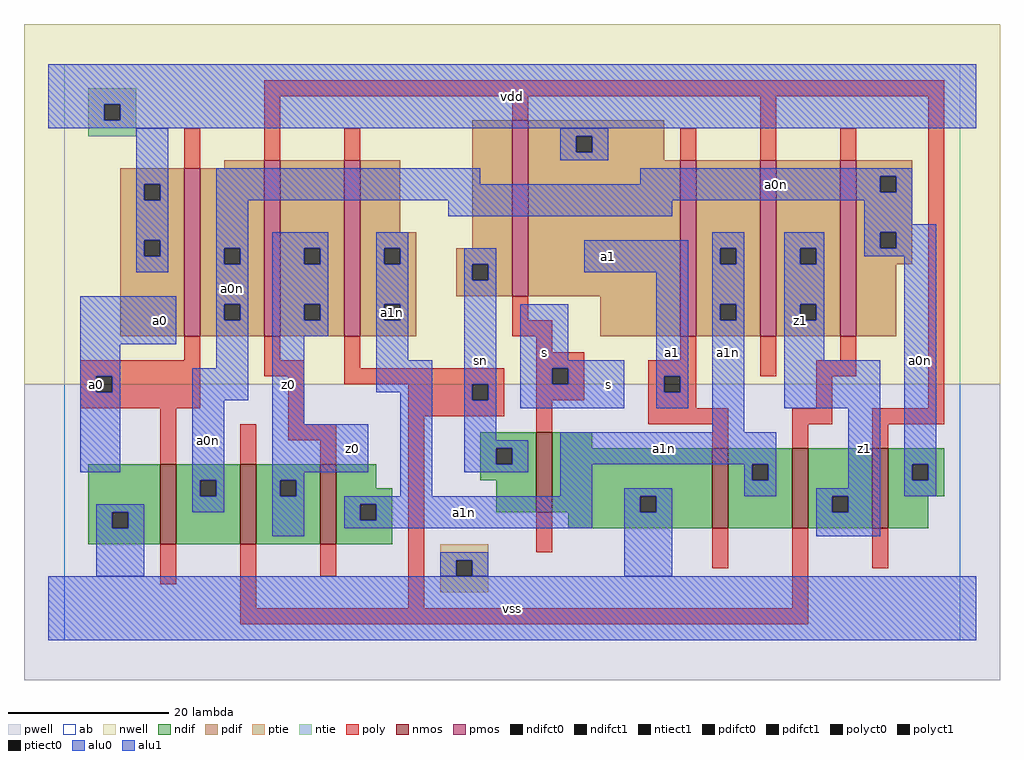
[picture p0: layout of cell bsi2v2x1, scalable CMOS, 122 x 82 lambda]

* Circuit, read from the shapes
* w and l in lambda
.subckt bsi2v2x1 a0 a0n a1 a1n s sn vdd vss z0 z1
M1 a0n a0 vss vss nfet w=10 l=2
M2 z0 sn a0n vss nfet w=10 l=2
M3 a1n s z0 vss nfet w=10 l=2
M4 vss s sn vss nfet w=10 l=2
M5 a1n a1 vss vss nfet w=10 l=2
M6 z1 sn a1n vss nfet w=10 l=2
M7 a0n s z1 vss nfet w=10 l=2
M8 a0n a0 vdd vdd pfet w=21 l=2
M9 z0 s a0n vdd pfet w=22 l=2
M10 a1n sn z0 vdd pfet w=22 l=2
M11 vdd s sn vdd pfet w=22 l=2
M12 a1n a1 vdd vdd pfet w=22 l=2
M13 z1 s a1n vdd pfet w=22 l=2
M14 a0n sn z1 vdd pfet w=22 l=2
.ends

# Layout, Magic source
magic
tech scmos
<< ab >>
rect 0 0 112 72
<< nwell >>
rect -5 32 117 77
<< pwell >>
rect -5 -5 117 32
<< poly >>
rect 25 68 110 70
rect 15 59 17 64
rect 25 60 27 68
rect 56 65 58 68
rect 35 60 37 64
rect 77 60 79 64
rect 87 60 89 68
rect 97 60 99 64
rect 56 40 58 43
rect 56 38 61 40
rect 15 35 17 38
rect 2 33 17 35
rect 25 35 27 38
rect 25 33 30 35
rect 2 31 4 33
rect 6 31 17 33
rect 2 29 17 31
rect 12 22 14 29
rect 28 27 30 33
rect 35 34 37 38
rect 59 36 61 38
rect 59 34 65 36
rect 77 35 79 38
rect 35 32 55 34
rect 43 30 51 32
rect 53 30 55 32
rect 43 28 55 30
rect 59 32 61 34
rect 63 32 65 34
rect 59 30 65 32
rect 73 33 79 35
rect 87 33 89 38
rect 97 35 99 38
rect 94 33 99 35
rect 73 31 75 33
rect 77 31 79 33
rect 22 22 24 27
rect 28 25 34 27
rect 32 22 34 25
rect 12 7 14 12
rect 22 4 24 12
rect 32 8 34 12
rect 43 4 45 28
rect 59 26 61 30
rect 73 29 79 31
rect 94 29 96 33
rect 108 29 110 68
rect 73 27 83 29
rect 81 24 83 27
rect 91 27 96 29
rect 101 27 110 29
rect 91 24 93 27
rect 101 24 103 27
rect 59 11 61 16
rect 81 9 83 14
rect 91 4 93 14
rect 101 9 103 14
rect 22 2 93 4
<< ndif >>
rect 3 16 12 22
rect 3 14 6 16
rect 8 14 12 16
rect 3 12 12 14
rect 14 20 22 22
rect 14 18 17 20
rect 19 18 22 20
rect 14 12 22 18
rect 24 20 32 22
rect 24 18 27 20
rect 29 18 32 20
rect 24 12 32 18
rect 34 19 39 22
rect 34 17 41 19
rect 34 15 37 17
rect 39 15 41 17
rect 34 12 41 15
rect 52 24 59 26
rect 52 22 54 24
rect 56 22 59 24
rect 52 20 59 22
rect 54 16 59 20
rect 61 24 66 26
rect 61 18 81 24
rect 61 16 72 18
rect 74 16 81 18
rect 63 14 81 16
rect 83 22 91 24
rect 83 20 86 22
rect 88 20 91 22
rect 83 14 91 20
rect 93 18 101 24
rect 93 16 96 18
rect 98 16 101 18
rect 93 14 101 16
rect 103 22 110 24
rect 103 20 106 22
rect 108 20 110 22
rect 103 18 110 20
rect 103 14 108 18
<< pdif >>
rect 20 59 25 60
rect 7 57 15 59
rect 7 55 10 57
rect 12 55 15 57
rect 7 50 15 55
rect 7 48 10 50
rect 12 48 15 50
rect 7 38 15 48
rect 17 49 25 59
rect 17 47 20 49
rect 22 47 25 49
rect 17 42 25 47
rect 17 40 20 42
rect 22 40 25 42
rect 17 38 25 40
rect 27 49 35 60
rect 27 47 30 49
rect 32 47 35 49
rect 27 42 35 47
rect 27 40 30 42
rect 32 40 35 42
rect 27 38 35 40
rect 37 51 42 60
rect 37 49 44 51
rect 51 49 56 65
rect 37 47 40 49
rect 42 47 44 49
rect 37 42 44 47
rect 49 47 56 49
rect 49 45 51 47
rect 53 45 56 47
rect 49 43 56 45
rect 58 63 75 65
rect 58 61 64 63
rect 66 61 75 63
rect 58 60 75 61
rect 58 43 77 60
rect 37 40 40 42
rect 42 40 44 42
rect 37 38 44 40
rect 67 38 77 43
rect 79 49 87 60
rect 79 47 82 49
rect 84 47 87 49
rect 79 42 87 47
rect 79 40 82 42
rect 84 40 87 42
rect 79 38 87 40
rect 89 49 97 60
rect 89 47 92 49
rect 94 47 97 49
rect 89 42 97 47
rect 89 40 92 42
rect 94 40 97 42
rect 89 38 97 40
rect 99 58 106 60
rect 99 56 102 58
rect 104 56 106 58
rect 99 51 106 56
rect 99 49 102 51
rect 104 49 106 51
rect 99 47 106 49
rect 99 38 104 47
<< alu1 >>
rect -2 67 114 72
rect -2 65 5 67
rect 7 65 114 67
rect -2 64 114 65
rect 2 37 14 43
rect 2 33 7 37
rect 2 31 4 33
rect 6 31 7 33
rect 2 21 7 31
rect 26 49 33 51
rect 26 47 30 49
rect 32 47 33 49
rect 26 42 33 47
rect 26 40 30 42
rect 32 40 33 42
rect 26 38 33 40
rect 26 27 30 38
rect 65 46 78 50
rect 26 21 38 27
rect 26 20 30 21
rect 26 18 27 20
rect 29 18 30 20
rect 57 35 63 42
rect 57 34 70 35
rect 57 32 61 34
rect 63 32 70 34
rect 57 29 70 32
rect 74 33 78 46
rect 74 31 75 33
rect 77 31 78 33
rect 74 29 78 31
rect 90 49 95 51
rect 90 47 92 49
rect 94 47 95 49
rect 90 42 95 47
rect 90 40 92 42
rect 94 40 95 42
rect 90 35 95 40
rect 90 29 102 35
rect 26 13 30 18
rect 98 19 102 29
rect 94 18 102 19
rect 94 16 96 18
rect 98 16 102 18
rect 94 13 102 16
rect -2 0 114 8
<< ptie >>
rect 47 10 53 12
rect 47 8 49 10
rect 51 8 53 10
rect 47 6 53 8
<< ntie >>
rect 3 67 9 69
rect 3 65 5 67
rect 7 65 9 67
rect 3 63 9 65
<< nmos >>
rect 12 12 14 22
rect 22 12 24 22
rect 32 12 34 22
rect 59 16 61 26
rect 81 14 83 24
rect 91 14 93 24
rect 101 14 103 24
<< pmos >>
rect 15 38 17 59
rect 25 38 27 60
rect 35 38 37 60
rect 56 43 58 65
rect 77 38 79 60
rect 87 38 89 60
rect 97 38 99 60
<< polyct0 >>
rect 51 30 53 32
<< polyct1 >>
rect 4 31 6 33
rect 61 32 63 34
rect 75 31 77 33
<< ndifct0 >>
rect 6 14 8 16
rect 17 18 19 20
rect 37 15 39 17
rect 54 22 56 24
rect 72 16 74 18
rect 86 20 88 22
rect 106 20 108 22
<< ndifct1 >>
rect 27 18 29 20
rect 96 16 98 18
<< ntiect1 >>
rect 5 65 7 67
<< ptiect0 >>
rect 49 8 51 10
<< pdifct0 >>
rect 10 55 12 57
rect 10 48 12 50
rect 20 47 22 49
rect 20 40 22 42
rect 40 47 42 49
rect 51 45 53 47
rect 64 61 66 63
rect 40 40 42 42
rect 82 47 84 49
rect 82 40 84 42
rect 102 56 104 58
rect 102 49 104 51
<< pdifct1 >>
rect 30 47 32 49
rect 30 40 32 42
rect 92 47 94 49
rect 92 40 94 42
<< alu0 >>
rect 9 57 13 64
rect 62 63 68 64
rect 62 61 64 63
rect 66 61 68 63
rect 62 60 68 61
rect 9 55 10 57
rect 12 55 13 57
rect 9 50 13 55
rect 9 48 10 50
rect 12 48 13 50
rect 9 46 13 48
rect 19 57 52 59
rect 72 58 106 59
rect 72 57 102 58
rect 19 56 102 57
rect 104 56 106 58
rect 19 55 106 56
rect 19 49 23 55
rect 48 53 76 55
rect 100 52 106 55
rect 100 51 109 52
rect 19 47 20 49
rect 22 47 23 49
rect 19 42 23 47
rect 19 40 20 42
rect 22 40 23 42
rect 19 34 23 40
rect 16 30 23 34
rect 39 49 43 51
rect 39 47 40 49
rect 42 47 43 49
rect 39 42 43 47
rect 39 40 40 42
rect 42 40 43 42
rect 16 20 20 30
rect 16 18 17 20
rect 19 18 20 20
rect 4 16 10 17
rect 16 16 20 18
rect 39 35 43 40
rect 50 47 54 49
rect 50 45 51 47
rect 53 45 54 47
rect 39 31 46 35
rect 42 18 46 31
rect 50 32 54 45
rect 50 30 51 32
rect 53 30 54 32
rect 50 25 54 30
rect 81 49 85 51
rect 81 47 82 49
rect 84 47 85 49
rect 81 42 85 47
rect 81 40 82 42
rect 84 40 85 42
rect 81 26 85 40
rect 100 49 102 51
rect 104 49 109 51
rect 100 48 109 49
rect 50 24 58 25
rect 50 22 54 24
rect 56 22 58 24
rect 50 21 58 22
rect 62 22 89 26
rect 62 18 66 22
rect 85 20 86 22
rect 88 20 89 22
rect 4 14 6 16
rect 8 14 10 16
rect 4 8 10 14
rect 35 17 66 18
rect 35 15 37 17
rect 39 15 66 17
rect 35 14 66 15
rect 70 18 76 19
rect 85 18 89 20
rect 105 22 109 48
rect 105 20 106 22
rect 108 20 109 22
rect 105 18 109 20
rect 70 16 72 18
rect 74 16 76 18
rect 47 10 53 11
rect 47 8 49 10
rect 51 8 53 10
rect 70 8 76 16
<< labels >>
rlabel alu0 18 25 18 25 6 a0n
rlabel alu0 21 44 21 44 6 a0n
rlabel alu0 52 35 52 35 6 sn
rlabel pdifct0 41 41 41 41 6 a1n
rlabel alu0 50 16 50 16 6 a1n
rlabel alu0 75 24 75 24 6 a1n
rlabel alu0 83 36 83 36 6 a1n
rlabel alu0 107 35 107 35 6 a0n
rlabel alu0 89 57 89 57 6 a0n
rlabel alu1 4 32 4 32 6 a0
rlabel alu1 12 40 12 40 6 a0
rlabel alu1 28 32 28 32 6 z0
rlabel alu1 36 24 36 24 6 z0
rlabel alu1 56 4 56 4 6 vss
rlabel alu1 68 32 68 32 6 s
rlabel alu1 76 36 76 36 6 a1
rlabel alu1 60 36 60 36 6 s
rlabel alu1 68 48 68 48 6 a1
rlabel alu1 56 68 56 68 6 vdd
rlabel alu1 100 24 100 24 6 z1
rlabel alu1 92 40 92 40 6 z1
<< end >>
